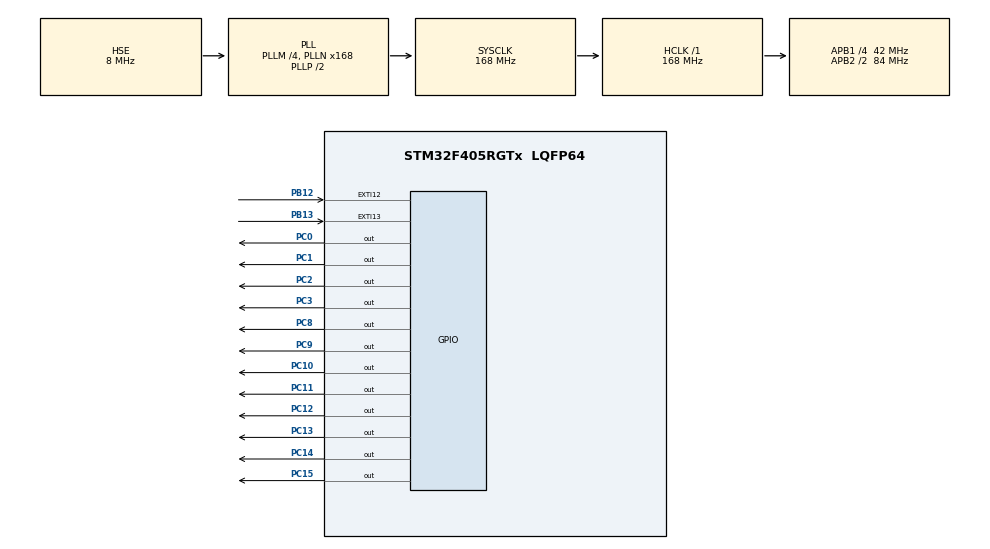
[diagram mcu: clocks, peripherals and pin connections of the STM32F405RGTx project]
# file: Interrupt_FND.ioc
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Mcu.Family=STM32F4
Mcu.Name=STM32F405RGTx
Mcu.Package=LQFP64
NVIC.EXTI15_10_IRQn=true\:0\:0\:false\:false\:true\:true\:true
NVIC.PriorityGroup=NVIC_PRIORITYGROUP_4
PA13.Mode=Serial_Wire
PA13.Signal=SYS_JTMS-SWDIO
PA14.Mode=Serial_Wire
PA14.Signal=SYS_JTCK-SWCLK
PB12.Signal=GPXTI12
PB13.Signal=GPXTI13
PC0.Signal=GPIO_Output
PC1.Signal=GPIO_Output
PC10.Signal=GPIO_Output
PC11.Signal=GPIO_Output
PC12.Signal=GPIO_Output
PC13-ANTI_TAMP.Signal=GPIO_Output
PC14-OSC32_IN.Signal=GPIO_Output
PC15-OSC32_OUT.Signal=GPIO_Output
PC2.Signal=GPIO_Output
PC3.Signal=GPIO_Output
PC8.Signal=GPIO_Output
PC9.Signal=GPIO_Output
PH0-OSC_IN.Mode=HSE-External-Oscillator
PH0-OSC_IN.Signal=RCC_OSC_IN
PH1-OSC_OUT.Mode=HSE-External-Oscillator
PH1-OSC_OUT.Signal=RCC_OSC_OUT
ProjectManager.HeapSize=0x200
ProjectManager.StackSize=0x400
ProjectManager.TargetToolchain=EWARM V8.32
RCC.48MHZClocksFreq_Value=84000000
RCC.AHBFreq_Value=168000000
RCC.APB1CLKDivider=RCC_HCLK_DIV4
RCC.APB1Freq_Value=42000000
RCC.APB1TimFreq_Value=84000000
RCC.APB2CLKDivider=RCC_HCLK_DIV2
RCC.APB2Freq_Value=84000000
RCC.APB2TimFreq_Value=168000000
RCC.CortexFreq_Value=168000000
RCC.HCLKFreq_Value=168000000
RCC.HSE_VALUE=8000000
RCC.HSI_VALUE=16000000
RCC.LSE_VALUE=32768
RCC.PLLM=4
RCC.PLLN=168
RCC.PLLSourceVirtual=RCC_PLLSOURCE_HSE
RCC.SYSCLKFreq_VALUE=168000000
RCC.SYSCLKSource=RCC_SYSCLKSOURCE_PLLCLK
RCC.VCOOutputFreq_Value=336000000
board=custom

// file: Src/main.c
/* USER CODE BEGIN Header */
/**
  ******************************************************************************
  * @file           : main.c
  * @brief          : Main program body
  ******************************************************************************
  * @attention
  *
  * <h2><center>&copy; Copyright (c) 2020 STMicroelectronics.
  * All rights reserved.</center></h2>
  *
  * This software component is licensed by ST under BSD 3-Clause license,
  * the "License"; You may not use this file except in compliance with the
  * License. You may obtain a copy of the License at:
  *                        opensource.org/licenses/BSD-3-Clause
  *
  ******************************************************************************
  */
/* USER CODE END Header */

#include "main.h"
#include "gpio.h"

/* USER CODE BEGIN Includes */
  unsigned char Time_STOP = 0;
  unsigned char Led_STOP= 0;
/* USER CODE END Includes */

void SystemClock_Config(void);

int main(void)
{
  /* USER CODE BEGIN 1 */
  unsigned int FND_DATA_TBL[] = {0X3F00,0X0600,0X5B00,0X4F00,0X6600,0X6D00,0X7C00,0X0700,0X7F00,0X6700,0X7700,0X7C00,0X3900,0X5E00,0X7900,0X7100,0X0800,0X8000};
  unsigned char cnt = 0;
  unsigned char LED_Data = 0x0001;
  /* USER CODE END 1 */

  /* MCU Configuration--------------------------------------------------------*/

  /* Reset of all peripherals, Initializes the Flash interface and the Systick. */
  HAL_Init();

  /* Configure the system clock */
  SystemClock_Config();

  /* Initialize all configured peripherals */
  MX_GPIO_Init();

  /* Infinite loop */
  /* USER CODE BEGIN WHILE */
  while (1)
  {
    HAL_GPIO_WritePin(GPIOC,FND_DATA_TBL[cnt],GPIO_PIN_SET);
    HAL_GPIO_WritePin(GPIOC,LED_Data,GPIO_PIN_SET);
    HAL_Delay(500);
    HAL_GPIO_WritePin(GPIOC,FND_DATA_TBL[cnt],GPIO_PIN_RESET);
    HAL_GPIO_WritePin(GPIOC,LED_Data,GPIO_PIN_RESET);

    if(Time_STOP == 0)
    {
      cnt++;
      if(cnt > 17)
        cnt = 0;
    }

    if(Led_STOP == 0)
    {
      if(LED_Data == 0x0008)    LED_Data = 0x0001;
      else      LED_Data <<= 1;
    }

    /* USER CODE END WHILE */

  }
}

void SystemClock_Config(void)
{
  RCC_OscInitTypeDef RCC_OscInitStruct = {0};
  RCC_ClkInitTypeDef RCC_ClkInitStruct = {0};

  /** Configure the main internal regulator output voltage
  */
  __HAL_RCC_PWR_CLK_ENABLE();
  __HAL_PWR_VOLTAGESCALING_CONFIG(PWR_REGULATOR_VOLTAGE_SCALE1);
  /** Initializes the CPU, AHB and APB busses clocks
  */
  RCC_OscInitStruct.OscillatorType = RCC_OSCILLATORTYPE_HSE;
  RCC_OscInitStruct.HSEState = RCC_HSE_ON;
  RCC_OscInitStruct.PLL.PLLState = RCC_PLL_ON;
  RCC_OscInitStruct.PLL.PLLSource = RCC_PLLSOURCE_HSE;
  RCC_OscInitStruct.PLL.PLLM = 4;
  RCC_OscInitStruct.PLL.PLLN = 168;
  RCC_OscInitStruct.PLL.PLLP = RCC_PLLP_DIV2;
  RCC_OscInitStruct.PLL.PLLQ = 4;
  if (HAL_RCC_OscConfig(&RCC_OscInitStruct) != HAL_OK)
  {
    Error_Handler();
  }
  /** Initializes the CPU, AHB and APB busses clocks
  */
  RCC_ClkInitStruct.ClockType = RCC_CLOCKTYPE_HCLK|RCC_CLOCKTYPE_SYSCLK
                              |RCC_CLOCKTYPE_PCLK1|RCC_CLOCKTYPE_PCLK2;
  RCC_ClkInitStruct.SYSCLKSource = RCC_SYSCLKSOURCE_PLLCLK;
  RCC_ClkInitStruct.AHBCLKDivider = RCC_SYSCLK_DIV1;
  RCC_ClkInitStruct.APB1CLKDivider = RCC_HCLK_DIV4;
  RCC_ClkInitStruct.APB2CLKDivider = RCC_HCLK_DIV2;

  if (HAL_RCC_ClockConfig(&RCC_ClkInitStruct, FLASH_LATENCY_5) != HAL_OK)
  {
    Error_Handler();
  }
}

/* USER CODE BEGIN 4 */
void HAL_GPIO_EXTI_Callback(uint16_t GPIO_Pin)
{
  if(GPIO_Pin == GPIO_PIN_13)
  {
    if(Time_STOP == 0)    Time_STOP =1;
    else  Time_STOP = 0;
  }
  else if(GPIO_Pin == GPIO_PIN_12)
  {
    if(Led_STOP == 0)    Led_STOP =1;
    else  Led_STOP = 0;
  }
}

/* USER CODE END 4 */

void Error_Handler(void)
{
}

/************************ (C) COPYRIGHT STMicroelectronics *****END OF FILE****/
